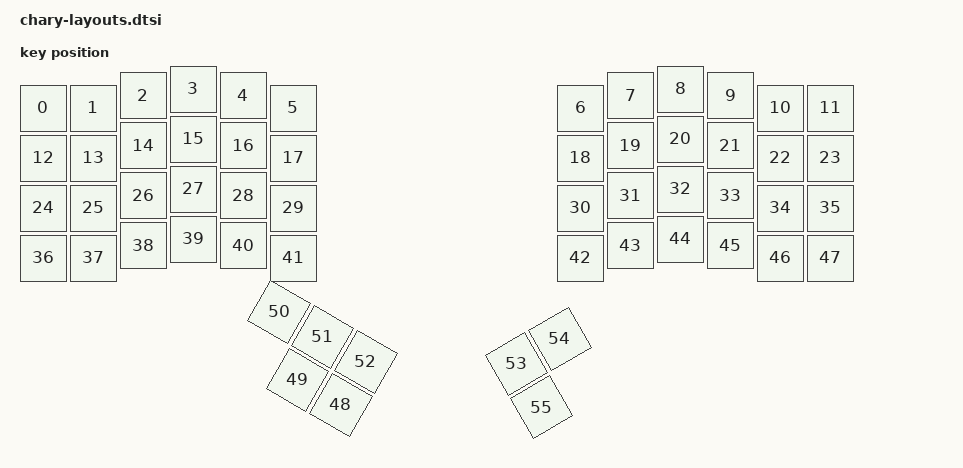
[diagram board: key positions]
#include <physical_layouts.dtsi>

/ {
    physical_layout0: physical_layout_0 {
        compatible = "zmk,physical-layout";
        display-name = "Default";

        kscan = <&kscan0>;
        transform = <&default_transform>;

        keys  //                     w   h    x    y     rot    rx    ry
            = <&key_physical_attrs 100 100    0   38       0     0     0>
            , <&key_physical_attrs 100 100  100   38       0     0     0>
            , <&key_physical_attrs 100 100  200   13       0     0     0>
            , <&key_physical_attrs 100 100  300    0       0     0     0>
            , <&key_physical_attrs 100 100  400   13       0     0     0>
            , <&key_physical_attrs 100 100  500   38       0     0     0>
            , <&key_physical_attrs 100 100 1075   38       0     0     0>
            , <&key_physical_attrs 100 100 1175   13       0     0     0>
            , <&key_physical_attrs 100 100 1275    0       0     0     0>
            , <&key_physical_attrs 100 100 1375   13       0     0     0>
            , <&key_physical_attrs 100 100 1475   38       0     0     0>
            , <&key_physical_attrs 100 100 1575   38       0     0     0>
            , <&key_physical_attrs 100 100    0  138       0     0     0>
            , <&key_physical_attrs 100 100  100  138       0     0     0>
            , <&key_physical_attrs 100 100  200  113       0     0     0>
            , <&key_physical_attrs 100 100  300  100       0     0     0>
            , <&key_physical_attrs 100 100  400  113       0     0     0>
            , <&key_physical_attrs 100 100  500  138       0     0     0>
            , <&key_physical_attrs 100 100 1075  138       0     0     0>
            , <&key_physical_attrs 100 100 1175  113       0     0     0>
            , <&key_physical_attrs 100 100 1275  100       0     0     0>
            , <&key_physical_attrs 100 100 1375  113       0     0     0>
            , <&key_physical_attrs 100 100 1475  138       0     0     0>
            , <&key_physical_attrs 100 100 1575  138       0     0     0>
            , <&key_physical_attrs 100 100    0  238       0     0     0>
            , <&key_physical_attrs 100 100  100  238       0     0     0>
            , <&key_physical_attrs 100 100  200  213       0     0     0>
            , <&key_physical_attrs 100 100  300  200       0     0     0>
            , <&key_physical_attrs 100 100  400  213       0     0     0>
            , <&key_physical_attrs 100 100  500  238       0     0     0>
            , <&key_physical_attrs 100 100 1075  238       0     0     0>
            , <&key_physical_attrs 100 100 1175  213       0     0     0>
            , <&key_physical_attrs 100 100 1275  200       0     0     0>
            , <&key_physical_attrs 100 100 1375  213       0     0     0>
            , <&key_physical_attrs 100 100 1475  238       0     0     0>
            , <&key_physical_attrs 100 100 1575  238       0     0     0>
            , <&key_physical_attrs 100 100    0  338       0     0     0>
            , <&key_physical_attrs 100 100  100  338       0     0     0>
            , <&key_physical_attrs 100 100  200  313       0     0     0>
            , <&key_physical_attrs 100 100  300  300       0     0     0>
            , <&key_physical_attrs 100 100  400  313       0     0     0>
            , <&key_physical_attrs 100 100  500  338       0     0     0>
            , <&key_physical_attrs 100 100 1075  338       0     0     0>
            , <&key_physical_attrs 100 100 1175  313       0     0     0>
            , <&key_physical_attrs 100 100 1275  300       0     0     0>
            , <&key_physical_attrs 100 100 1375  313       0     0     0>
            , <&key_physical_attrs 100 100 1475  338       0     0     0>
            , <&key_physical_attrs 100 100 1575  338       0     0     0>
            , <&key_physical_attrs 100 100  725  600    3000   650   425>
            , <&key_physical_attrs 100 100  625  600    3000   650   425>
            , <&key_physical_attrs 100 100  525  500    3000   650   425>
            , <&key_physical_attrs 100 100  625  500    3000   650   425>
            , <&key_physical_attrs 100 100  725  500    3000   650   425>
            , <&key_physical_attrs 100 100  900  375 (-3000)  1300   425>
            , <&key_physical_attrs 100 100 1000  375 (-3000)  1300   425>
            , <&key_physical_attrs 100 100  900  475 (-3000)  1300   425>
            ;
    };
};
